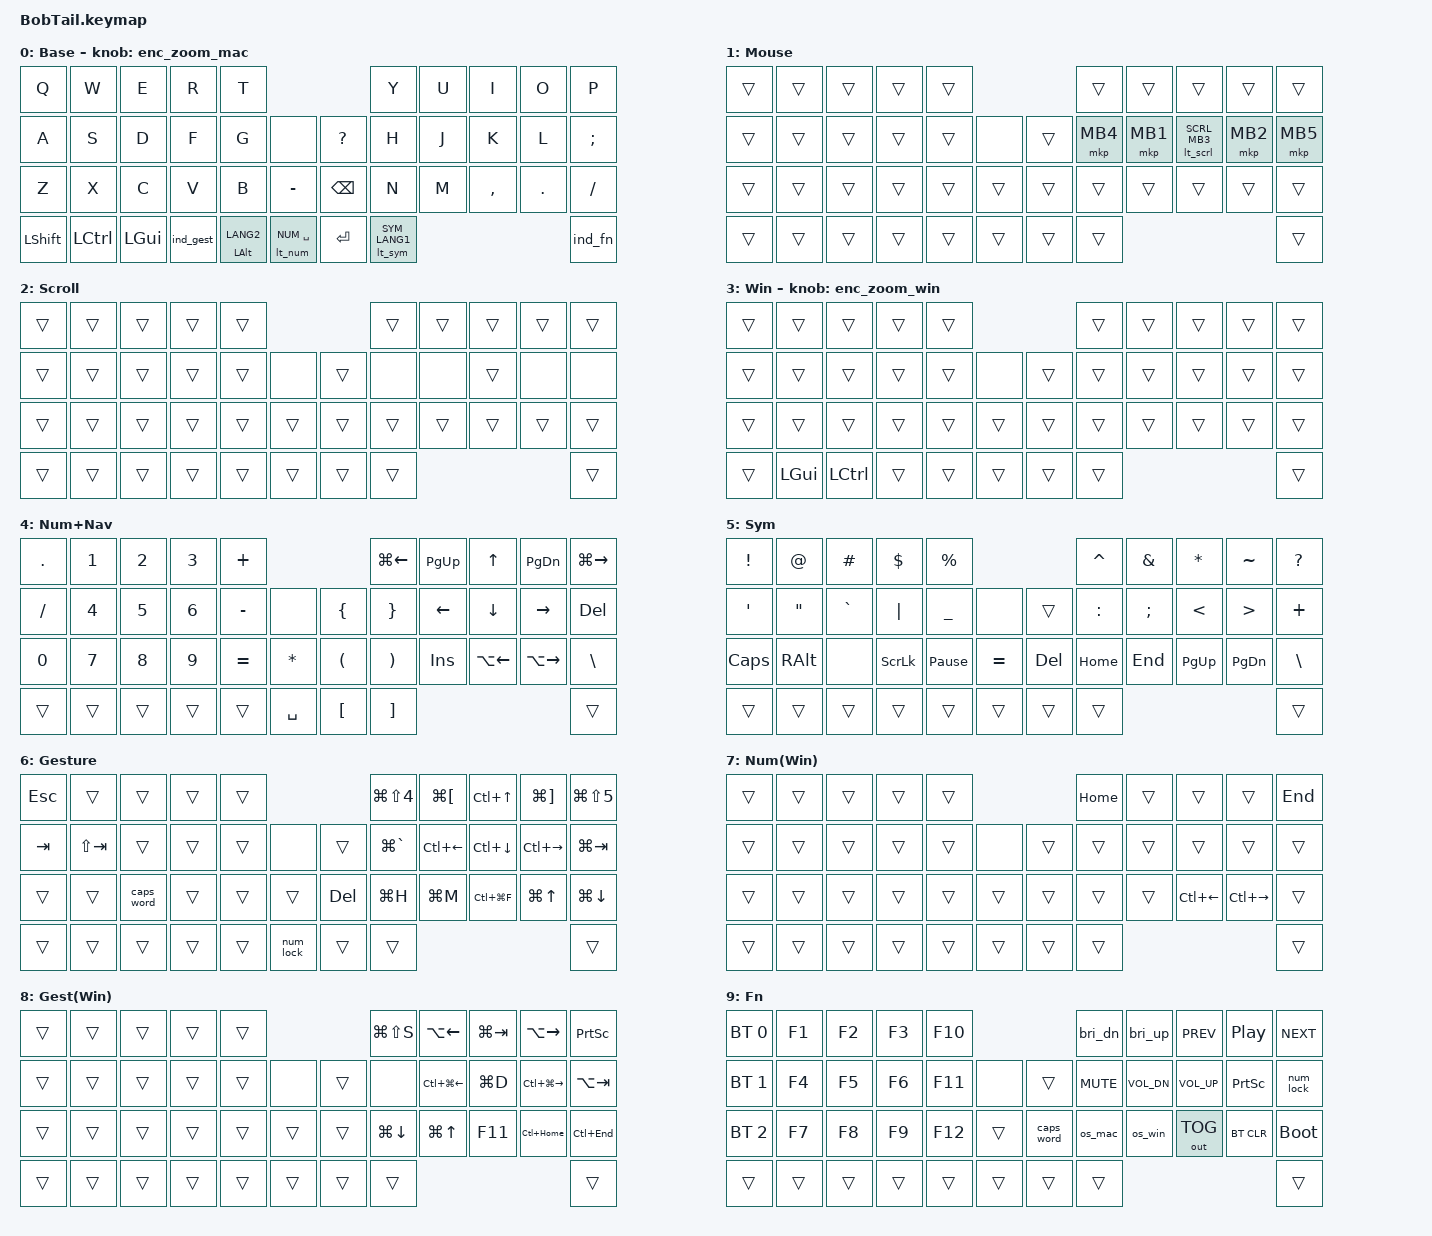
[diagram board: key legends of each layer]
/*
 * BobTailESC keymap  —  研究者 (Mac 主 / Windows 併用) 向け
 *
 * 物理配置 (キー番号)     ※ 15 はエンコーダ位置。キーは載っていない
 *
 *   0   1   2   3   4                     5   6   7   8   9
 *  10  11  12  13  14  (enc)          16  17  18  19  20  21
 *  22  23  24  25  26  27             28  29  30  31  32  33
 *  34  35  36  37  38  39             40  41    (ball)    42
 *              ~~~~~~~~~~~~~~~~       ~~~~~~
 *              打ちやすい親指 4+Gesture     右親指 2 個
 *              (34/35/36 は専用 Shift/Ctrl/Command。42 が専用 Fn)
 *
 * 設計方針
 *   - 15 番はエンコーダなので割り当てない (bindings 上は &none)
 *   - 対になるキーは左右対称 (英数↔かな, Space↔Enter, -↔⌫)
 *   - 内側列は下段のほうが打ちやすいので、使用頻度の高いものを下へ
 *   - 英字・Enter・? に長押し機能を置かない。修飾キーの誤発動を構造的に防ぐ
 *   - 英数(LANG2) は長押し LALT、かな(LANG1) は長押し SYM。重複した右 Alt は補助層へ
 *   - 数字は左手テンキー。右手はトラックボールに置いたまま数値を打てる
 *   - 同じ層の右手に逆Ｔ字の矢印と、対になった括弧を置く
 *   - F キーは数字と同一位置 (7 の上が F7)。形で覚える
 *   - macOS では ⌘、Windows では Ctrl が同じ指に来る
 */

#define ZMK_POINTING_DEFAULT_SCRL_VAL 80

#include <behaviors.dtsi>
#include <dt-bindings/zmk/bt.h>
#include <dt-bindings/zmk/keys.h>
#include <dt-bindings/zmk/outputs.h>
#include <dt-bindings/zmk/pointing.h>

/* MOUSE / SCRL を低くして、Num 層を押したままボールに触れても壊れない */

#define BASE   0
#define MOUSE  1
#define SCRL   2
#define WIN    3
#define NUM    4   /* 左手テンキー + 右手矢印・括弧 */
#define SYM    5
#define GEST   6
#define NUMW   7   /* WIN + NUM */
#define GESTW  8   /* WIN + GEST */
#define FN     9
#define LAYER_INDICATOR 1

/* レイヤー通知（Num/Sym/Gesture/Fn/Mac/Win）は Keyboard page の F13/F16/F17/F18/
   F19/F20 を送っていたが、これらは Apple のキーボードにも仮想キーコードが
   割り当てられた「本物の」キーで、macOS が実際に keyDown/keyUp イベントを
   組み立てる。BobTailBar の CGEvent タップが止まっている瞬間（アクセシビリティが
   外れた直後、再接続中、タイムアウトで一時停止した直後など）はこのイベントを
   飲み込めず、前面のアプリへ生の入力として漏れる。多くのアプリは未割り当ての
   F キーを無視するだけで済むが、環境によってはこれを文字として解釈しようとして
   「□?」のような文字化けが入力されてしまう。

   Scroll 通知だけは前からこの問題が起きていなかった。F22 に対応する仮想キー
   コードは Apple のどのキーボードも持たないため、macOS がそもそも keyDown
   イベントを組み立てず、BobTailBar は IOHID で受け取るだけで CGEvent は
   一切発生しない（つまり漏れようがない）。

   同じ性質を他の 6 つの通知にも持たせるため、USB HID Usage Tables の Consumer
   ページで未割り当てのまま空いている 0x01D0–0x01D5（Application Launch
   Buttons の末尾 0x01CB と Generic GUI Application の先頭 0x0200 のあいだ、
   0x01CC–0x01FF の 52 個の未割り当て領域の中）を割り当てる。Consumer ページの
   コードは Keyboard page とはまったく別の HID レポートに乗るので、6 キー
   ロールオーバーの対象にもならない。ここは macOS はもちろんどの OS のドライバも
   対応する動作を持たないので、タップが止まっていても文字として現れることはない */
#define IND_NUM  (ZMK_HID_USAGE(HID_USAGE_CONSUMER, 0x01D0))
#define IND_SYM  (ZMK_HID_USAGE(HID_USAGE_CONSUMER, 0x01D1))
#define IND_GEST (ZMK_HID_USAGE(HID_USAGE_CONSUMER, 0x01D2))
#define IND_FN   (ZMK_HID_USAGE(HID_USAGE_CONSUMER, 0x01D3))
#define IND_MAC  (ZMK_HID_USAGE(HID_USAGE_CONSUMER, 0x01D4))
#define IND_WIN  (ZMK_HID_USAGE(HID_USAGE_CONSUMER, 0x01D5))
/* 左エンコーダ。押しても何も起きないコードを送り、BobTailBar が
   トラックパッドのピンチに変換する。ピンチは HID では表現できない
   macOS 独自のジェスチャなので、キーボードからは送れない */
#define IND_ZOOM_IN  (ZMK_HID_USAGE(HID_USAGE_CONSUMER, 0x01D8))
#define IND_ZOOM_OUT (ZMK_HID_USAGE(HID_USAGE_CONSUMER, 0x01D9))
/* Scroll 通知は F22。Help だと BobTailBar が飲み込めないとき Finder が
   カーソル下のフォルダを選択してしまう。F22 に対応する仮想キーコードは無いので
   上と同じ理由でそのまま安全に使える */
#define IND_SCRL F22

#if LAYER_INDICATOR

#define HOLD_NUM   &ind_num
#define HOLD_SYM   &ind_sym
#define HOLD_SCRL  &ind_scrl
#define HOLD_GEST  &ind_gest
#define HOLD_FN    &ind_fn
#define MO_GEST    &ind_gest
#define MO_FN      &ind_fn
#define TOG_NUM    &num_lock
#define OS_MAC     &os_mac
#define OS_WIN     &os_win

#else

#define HOLD_NUM   &mo
#define HOLD_SYM   &mo
#define HOLD_SCRL  &mo
#define HOLD_GEST  &mo
#define HOLD_FN    &mo
#define MO_GEST    &mo GEST
#define MO_FN      &mo FN
#define TOG_NUM    &tog NUM
#define OS_MAC     &to BASE
#define OS_WIN     &to WIN

#endif

/ {
    behaviors {
        /* Space は文章中で頻繁に重なるので、後続キーだけで Num を発動しない。
           直前の文字から 125 ms 以内なら即 Space。数字入力は少し間を置いて
           220 ms 保持する。連続 Space は quick-tap でリピートできる。 */
        lt_num: layer_tap_num {
            compatible = "zmk,behavior-hold-tap";
            #binding-cells = <2>;
            flavor = "tap-preferred";
            tapping-term-ms = <220>;
            quick-tap-ms = <175>;
            require-prior-idle-ms = <125>;
            bindings = <HOLD_NUM>, <&kp>;
        };

        /* かな: 別キーを押した時点で Sym。Enter の誤送信リスクを持たせない。
           IME 操作直後でも意図した hold が使えるよう quick-tap / prior-idle は設けない。 */
        lt_sym: layer_tap_sym {
            compatible = "zmk,behavior-hold-tap";
            #binding-cells = <2>;
            flavor = "hold-preferred";
            tapping-term-ms = <180>;
            bindings = <HOLD_SYM>, <&kp>;
        };

        /* 中クリック: タップで MB3、長押しでボールをスクロール (SCRL 層)。
           hold-preferred にして、押しながらすぐ転がしても先にカーソルが
           動いて Finder のフォルダを掴みにくくする */

        lt_scrl: layer_tap_scroll {
            compatible = "zmk,behavior-hold-tap";
            #binding-cells = <2>;
            flavor = "hold-preferred";
            tapping-term-ms = <120>;
            quick-tap-ms = <175>;
            bindings = <HOLD_SCRL>, <&mkp>;
        };

        /* 英数: 別キーの押下で直ちに LALT。単独保持では 180 ms。
           hold-while-undecided は IME タップのたびに Alt を送るため使用しない。 */

        ime_mod: ime_mod_tap {
            compatible = "zmk,behavior-hold-tap";
            #binding-cells = <2>;
            flavor = "hold-preferred";
            tapping-term-ms = <180>;
            bindings = <&kp>, <&kp>;
        };

        /* 全層の左エンコーダは拡大 / 縮小。CW が拡大、CCW が縮小。
           Base と Win だけに sensor-bindings を定義し、他層は未定義のまま
           OS 層へフォールバックする (&trans はセンサー用 API を持たない)。

           mac が拡大するのはアプリの中身で、画面全体ではない。マウスの
           ズームつまみやトラックパッドの 2 本指ピンチと同じもの。これは
           macOS 独自のジェスチャイベントで HID には対応するコードが無いため、
           キーボードからは送れない。通知だけ送って BobTailBar が変換する。

           IND_ZOOM_IN / OUT は Consumer ページの未割り当てコードで、どの OS も
           対応する動作を持たない。BobTailBar が動いていなくても、他のレイヤー
           通知と同じく前面のアプリに何も入力されない (⌘+ を送っていた頃は
           アプリの文字サイズが変わり、⌥⌘= を送っていた頃は macOS の画面
           拡大鏡が動いてしまっていた)。拡大量はアプリ側の設定なので、
           変えるのに書き込み直す必要もない。 */
        enc_zoom_mac: encoder_zoom_mac {
            compatible = "zmk,behavior-sensor-rotate";
            #sensor-binding-cells = <0>;
            bindings = <&kp IND_ZOOM_IN>, <&kp IND_ZOOM_OUT>;
            tap-ms = <20>;
        };

        enc_zoom_win: encoder_zoom_win {
            compatible = "zmk,behavior-sensor-rotate";
            #sensor-binding-cells = <0>;
            bindings = <&kp LC(EQUAL)>, <&kp LC(MINUS)>;
            tap-ms = <20>;
        };
    };

    macros {
        ind_num: ind_num {
            compatible = "zmk,behavior-macro";
            #binding-cells = <0>;
            wait-ms = <0>;
            tap-ms = <0>;
            bindings =
                <&macro_press>,
                <&mo NUM &kp IND_NUM>,
                <&macro_pause_for_release>,
                <&macro_release>,
                <&kp IND_NUM &mo NUM>;
        };

        ind_sym: ind_sym {
            compatible = "zmk,behavior-macro";
            #binding-cells = <0>;
            wait-ms = <0>;
            tap-ms = <0>;
            bindings =
                <&macro_press>,
                <&mo SYM &kp IND_SYM>,
                <&macro_pause_for_release>,
                <&macro_release>,
                <&kp IND_SYM &mo SYM>;
        };

        ind_scrl: ind_scrl {
            compatible = "zmk,behavior-macro";
            #binding-cells = <0>;
            wait-ms = <0>;
            tap-ms = <0>;
            bindings =
                <&macro_press>,
                <&mo SCRL &kp IND_SCRL>,
                <&macro_pause_for_release>,
                <&macro_release>,
                <&kp IND_SCRL &mo SCRL>;
        };

        ind_gest: ind_gest {
            compatible = "zmk,behavior-macro";
            #binding-cells = <0>;
            wait-ms = <0>;
            tap-ms = <0>;
            bindings =
                <&macro_press>,
                <&mo GEST &kp IND_GEST>,
                <&macro_pause_for_release>,
                <&macro_release>,
                <&kp IND_GEST &mo GEST>;
        };

        ind_fn: ind_fn {
            compatible = "zmk,behavior-macro";
            #binding-cells = <0>;
            wait-ms = <0>;
            tap-ms = <0>;
            bindings =
                <&macro_press>,
                <&mo FN &kp IND_FN>,
                <&macro_pause_for_release>,
                <&macro_release>,
                <&kp IND_FN &mo FN>;
        };

        /* macOS は C_BRI_* を画面輝度として扱わない。F14/F15 がシステムの輝度キー。
           Windows 向けにコンシューマーキーも同時に送る */

        bri_dn: bri_dn {
            compatible = "zmk,behavior-macro";
            #binding-cells = <0>;
            wait-ms = <0>;
            tap-ms = <0>;
            bindings =
                <&macro_press>,
                <&kp C_BRI_DN &kp F14>,
                <&macro_pause_for_release>,
                <&macro_release>,
                <&kp F14 &kp C_BRI_DN>;
        };

        bri_up: bri_up {
            compatible = "zmk,behavior-macro";
            #binding-cells = <0>;
            wait-ms = <0>;
            tap-ms = <0>;
            bindings =
                <&macro_press>,
                <&kp C_BRI_UP &kp F15>,
                <&macro_pause_for_release>,
                <&macro_release>,
                <&kp F15 &kp C_BRI_UP>;
        };

        num_lock: num_lock {
            compatible = "zmk,behavior-macro";
            #binding-cells = <0>;
            wait-ms = <0>;
            tap-ms = <0>;
            bindings = <&macro_tap>, <&tog NUM &kt IND_NUM>;
        };

        os_mac: os_mac {
            compatible = "zmk,behavior-macro";
            #binding-cells = <0>;
            wait-ms = <0>;
            tap-ms = <20>;
            bindings = <&to BASE>, <&macro_tap>, <&kp IND_MAC>;
        };

        os_win: os_win {
            compatible = "zmk,behavior-macro";
            #binding-cells = <0>;
            wait-ms = <0>;
            tap-ms = <20>;
            bindings = <&to WIN>, <&macro_tap>, <&kp IND_WIN>;
        };
    };

    conditional_layers {
        compatible = "zmk,conditional-layers";

        cond_win_num {
            if-layers = <WIN NUM>;
            then-layer = <NUMW>;
        };

        cond_win_gest {
            if-layers = <WIN GEST>;
            then-layer = <GESTW>;
        };

    };

    keymap {
        compatible = "zmk,keymap";

        /* ============================================================
         * 0: BASE
         *
         *  親指の内側 4 キー (打ちやすい):  英数/L⌥  Space/Num  |  Enter  かな/Sym
         *  そのすぐ外側: Gesture (旧英数の位置)
         *
         *  Q     W     E     R     T   |   Y     U     I     O     P
         *  A     S     D     F     G  enc|  ?    H     J     K     L     ;
         *  Z     X     C     V     B   - |  ⌫    N     M     ,     .     /
         *  ⇧    ⌃    ⌘   GES  英数/⌥  Spc| Ent  かな/Sym                  Fn
         * ============================================================ */

        base_layer {
            display-name = "Base";
            bindings = <
&kp Q        &kp W        &kp E               &kp R                &kp T                                                                &kp Y  &kp U         &kp I         &kp O        &kp P
&kp A        &kp S        &kp D               &kp F                &kp G              &none                  &kp QMARK                  &kp H  &kp J         &kp K         &kp L        &kp SEMI
&kp Z        &kp X        &kp C               &kp V                &kp B              &kp MINUS              &kp BSPC                   &kp N  &kp M         &kp COMMA     &kp DOT      &kp SLASH
&kp LSHFT    &kp LCTRL    &kp LGUI            MO_GEST              &ime_mod LALT LANG2  &lt_num NUM SPACE      &kp ENTER                  &lt_sym SYM LANG1                                MO_FN
            >;
            sensor-bindings = <&enc_zoom_mac>;
        };

        mouse_layer {
            display-name = "Mouse";
            bindings = <
&trans  &trans  &trans            &trans  &trans                      &trans    &trans    &trans             &trans    &trans
&trans  &trans  &trans            &trans  &trans  &none       &trans  &mkp MB4  &mkp MB1  &lt_scrl SCRL MB3  &mkp MB2  &mkp MB5
&trans  &trans  &trans            &trans  &trans  &trans      &trans  &trans    &trans    &trans             &trans    &trans
&trans  &trans  &trans  &trans   &trans  &trans  &trans      &trans  &trans
            >;
        };

        /* ボールをスクロールにする内部層。専用キーは無い。中クリック長押しで乗る。
           マウスボタンは無効。透過のままだと J の左クリックが残り、
           Finder でカーソル下のフォルダが選択される */

        scroll_layer {
            display-name = "Scroll";
            bindings = <
&trans  &trans  &trans  &trans  &trans                      &trans  &trans  &trans  &trans  &trans
&trans  &trans  &trans  &trans  &trans  &none       &trans  &none   &none   &trans  &none   &none
&trans  &trans  &trans  &trans  &trans  &trans      &trans  &trans  &trans  &trans  &trans  &trans
&trans  &trans  &trans  &trans  &trans  &trans      &trans  &trans                          &trans
            >;
        };

        win_layer {
            display-name = "Win";
            bindings = <
&trans        &trans    &trans       &trans  &trans                      &trans  &trans  &trans       &trans  &trans
&trans        &trans    &trans       &trans  &trans  &none       &trans  &trans  &trans  &trans       &trans  &trans
&trans        &trans    &trans       &trans  &trans  &trans      &trans  &trans  &trans  &trans       &trans  &trans
&trans        &kp LGUI  &kp LCTRL    &trans  &trans  &trans      &trans  &trans                               &trans
            >;
            sensor-bindings = <&enc_zoom_win>;
        };

        /* ============================================================
         * 4: NUM — Space 長押し。左手がテンキー、右手が矢印と括弧
         *
         *   .   1   2   3   +   |  行頭 PgUp  ↑  PgDn 行末
         *   /   4   5   6   -  enc|  {    }    ←    ↓    →   Del
         *   0   7   8   9   =   * |  (    )   Ins 単語← 単語→  \
         *                         |  [    ]
         *
         * 0 は Z。最下行の Shift/Ctrl/Command を透過にして選択・ショートカットを維持。
         * ============================================================ */

        num_layer {
            display-name = "Num+Nav";
            bindings = <
&kp DOT    &kp N1  &kp N2  &kp N3  &kp PLUS                                           &kp LG(LEFT)           &kp PG_UP  &kp UP        &kp PG_DN      &kp LG(RIGHT)
&kp SLASH  &kp N4  &kp N5  &kp N6  &kp MINUS  &none             &kp LEFT_BRACE        &kp RIGHT_BRACE        &kp LEFT   &kp DOWN      &kp RIGHT      &kp DEL
&kp N0     &kp N7  &kp N8  &kp N9  &kp EQUAL  &kp ASTERISK      &kp LEFT_PARENTHESIS  &kp RIGHT_PARENTHESIS  &kp INS    &kp LA(LEFT)  &kp LA(RIGHT)  &kp BSLH
&trans     &trans  &trans  &trans  &trans     &kp SPACE         &kp LEFT_BRACKET      &kp RIGHT_BRACKET                                              &trans
            >;
        };

        /* ============================================================
         * 5: SYM — かな長押し。Num 層に無い記号 + 低頻度の編集・互換キー
         * ============================================================ */

        sym_layer {
            display-name = "Sym";
            bindings = <
&kp EXCL  &kp AT   &kp HASH   &kp DLLR  &kp PRCNT                       &kp CARET  &kp AMPS  &kp ASTRK  &kp TILDE  &kp QMARK
&kp SQT   &kp DQT  &kp GRAVE  &kp PIPE  &kp UNDER  &none       &trans   &kp COLON  &kp SEMI  &kp LT     &kp GT     &kp PLUS
&kp CAPS  &kp RALT  &none     &kp SLCK  &kp PAUSE_BREAK  &kp EQUAL  &kp DEL  &kp HOME  &kp END  &kp PG_UP  &kp PG_DN  &kp BSLH
&trans    &trans   &trans     &trans    &trans     &trans      &trans   &trans                                     &trans
            >;
        };

        gest_layer {
            display-name = "Gesture";
            bindings = <
&kp ESC  &trans  &trans  &trans  &trans                      &kp LG(LS(N4))  &kp LG(LBKT)  &kp LC(UP)     &kp LG(RBKT)   &kp LG(LS(N5))
&kp TAB  &kp LS(TAB)  &trans  &trans  &trans  &none  &trans  &kp LG(GRAVE)   &kp LC(LEFT)  &kp LC(DOWN)   &kp LC(RIGHT)  &kp LG(TAB)
&trans   &trans  &caps_word  &trans  &trans  &trans  &kp DEL  &kp LG(H)       &kp LG(M)     &kp LC(LG(F))  &kp LG(UP)     &kp LG(DOWN)
&trans   &trans  &trans  &trans  &trans  TOG_NUM     &trans  &trans                                                      &trans
            >;
        };

        /* Windows 時: 行頭行末・単語移動だけ差し替え。括弧と数字はそのまま */

        numw_layer {
            display-name = "Num(Win)";
            bindings = <
&trans  &trans  &trans  &trans  &trans                      &kp HOME  &trans  &trans        &trans         &kp END
&trans  &trans  &trans  &trans  &trans  &none       &trans  &trans    &trans  &trans        &trans         &trans
&trans  &trans  &trans  &trans  &trans  &trans      &trans  &trans    &trans  &kp LC(LEFT)  &kp LC(RIGHT)  &trans
&trans  &trans  &trans  &trans  &trans  &trans      &trans  &trans                                         &trans
            >;
        };

        gestw_layer {
            display-name = "Gest(Win)";
            bindings = <
&trans  &trans  &trans  &trans  &trans                      &kp LG(LS(S))  &kp LA(LEFT)      &kp LG(TAB)  &kp LA(RIGHT)      &kp PSCRN
&trans  &trans  &trans  &trans  &trans  &none       &trans  &none          &kp LC(LG(LEFT))  &kp LG(D)    &kp LC(LG(RIGHT))  &kp LA(TAB)
&trans  &trans  &trans  &trans  &trans  &trans      &trans  &kp LG(DOWN)   &kp LG(UP)        &kp F11      &kp LC(HOME)       &kp LC(END)
&trans  &trans  &trans  &trans  &trans  &trans      &trans  &trans                                                           &trans
            >;
        };

        /* ============================================================
         * 9: FN — 専用の右下 42。文字キーや Enter と兼用しない。
         *    数字と同一位置に F1–F9。F10/F11/F12 は +/−/= の列で下ほど大きい
         *
         *  BT0  F1  F2  F3  F10 | 輝度- 輝度+ 前曲  再生  次曲
         *  BT1  F4  F5  F6  F11 | ミュート 音量- 音量+ PrtSc NumLk
         *  BT2  F7  F8  F9  F12     | Caps  Mac   Win   出力  BT削除 ブート
         * ============================================================ */

        fn_layer {
            display-name = "Fn";
            bindings = <
&bt BT_SEL 0  &kp F1  &kp F2  &kp F3  &kp F10                                        &bri_dn     &bri_up       &kp C_PREV    &kp C_PP     &kp C_NEXT
&bt BT_SEL 1  &kp F4  &kp F5  &kp F6  &kp F11  &none              &trans      &kp C_MUTE  &kp C_VOL_DN  &kp C_VOL_UP  &kp PSCRN    TOG_NUM
&bt BT_SEL 2  &kp F7  &kp F8  &kp F9  &kp F12  &trans             &caps_word  OS_MAC      OS_WIN        &out OUT_TOG  &bt BT_CLR   &bootloader
&trans        &trans  &trans  &trans  &trans   &trans             &trans      &trans                                               &trans
            >;
        };
    };
};
